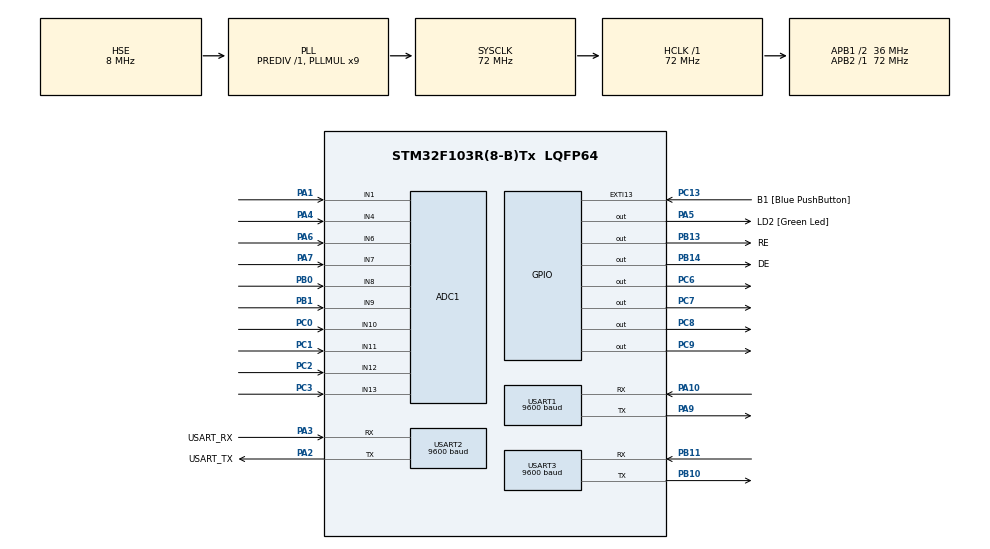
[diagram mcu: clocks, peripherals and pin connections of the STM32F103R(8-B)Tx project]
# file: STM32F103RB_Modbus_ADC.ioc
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ADC1.Channel-0\#ChannelRegularConversion=ADC_CHANNEL_1
ADC1.NbrOfConversionFlag=1
ADC1.Rank-0\#ChannelRegularConversion=1
ADC1.SamplingTime-0\#ChannelRegularConversion=ADC_SAMPLETIME_1CYCLE_5
ADC1.master=1
Mcu.Family=STM32F1
Mcu.Name=STM32F103R(8-B)Tx
Mcu.Package=LQFP64
NVIC.EXTI15_10_IRQn=true\:0\:0\:false\:false\:true\:true\:true\:true
NVIC.PriorityGroup=NVIC_PRIORITYGROUP_4
NVIC.USART1_IRQn=true\:0\:0\:false\:false\:true\:true\:true\:true
NVIC.USART2_IRQn=true\:0\:0\:false\:false\:true\:true\:true\:true
NVIC.USART3_IRQn=true\:0\:0\:false\:false\:true\:true\:true\:true
PA1.Signal=ADCx_IN1
PA10.Mode=Asynchronous
PA10.Signal=USART1_RX
PA13.GPIO_Label=TMS
PA13.Signal=SYS_JTMS-SWDIO
PA14.GPIO_Label=TCK
PA14.Signal=SYS_JTCK-SWCLK
PA2.GPIO_Label=USART_TX
PA2.GPIO_Mode=GPIO_MODE_AF_PP
PA2.GPIO_PuPd=GPIO_NOPULL
PA2.GPIO_Speed=GPIO_SPEED_FREQ_LOW
PA2.Mode=Asynchronous
PA2.Signal=USART2_TX
PA3.GPIO_Label=USART_RX
PA3.GPIO_Mode=GPIO_MODE_AF_PP
PA3.GPIO_PuPd=GPIO_NOPULL
PA3.GPIO_Speed=GPIO_SPEED_FREQ_LOW
PA3.Mode=Asynchronous
PA3.Signal=USART2_RX
PA4.Signal=ADCx_IN4
PA5.GPIO_Label=LD2 [Green Led]
PA5.GPIO_ModeDefaultOutputPP=GPIO_MODE_OUTPUT_PP
PA5.GPIO_PuPd=GPIO_NOPULL
PA5.GPIO_Speed=GPIO_SPEED_FREQ_LOW
PA5.Signal=GPIO_Output
PA6.Signal=ADCx_IN6
PA7.Signal=ADCx_IN7
PA9.Mode=Asynchronous
PA9.Signal=USART1_TX
PB0.Signal=ADCx_IN8
PB1.Signal=ADCx_IN9
PB10.Mode=Asynchronous
PB10.Signal=USART3_TX
PB11.Mode=Asynchronous
PB11.Signal=USART3_RX
PB13.GPIO_Label=RE
PB13.GPIO_PuPd=GPIO_PULLUP
PB13.Signal=GPIO_Output
PB14.GPIO_Label=DE
PB14.GPIO_PuPd=GPIO_PULLUP
PB14.Signal=GPIO_Output
PB3.GPIO_Label=SWO
PB3.Signal=SYS_JTDO-TRACESWO
PC0.Signal=ADCx_IN10
PC1.Signal=ADCx_IN11
PC13-TAMPER-RTC.GPIO_Label=B1 [Blue PushButton]
PC13-TAMPER-RTC.GPIO_PuPd=GPIO_NOPULL
PC13-TAMPER-RTC.Signal=GPXTI13
PC14-OSC32_IN.Mode=LSE-External-Oscillator
PC14-OSC32_IN.Signal=RCC_OSC32_IN
PC15-OSC32_OUT.Mode=LSE-External-Oscillator
PC15-OSC32_OUT.Signal=RCC_OSC32_OUT
PC2.Signal=ADCx_IN12
PC3.Signal=ADCx_IN13
PC6.Signal=GPIO_Output
PC7.Signal=GPIO_Output
PC8.Signal=GPIO_Output
PC9.Signal=GPIO_Output
PD0-OSC_IN.Mode=HSE-External-Clock-Source
PD0-OSC_IN.Signal=RCC_OSC_IN
PD1-OSC_OUT.Mode=HSE-External-Clock-Source
PD1-OSC_OUT.Signal=RCC_OSC_OUT
ProjectManager.HeapSize=0x200
ProjectManager.StackSize=0x400
ProjectManager.TargetToolchain=STM32CubeIDE
RCC.ADCPresc=RCC_ADCPCLK2_DIV6
RCC.AHBFreq_Value=72000000
RCC.APB1CLKDivider=RCC_HCLK_DIV2
RCC.APB1Freq_Value=36000000
RCC.APB1TimFreq_Value=72000000
RCC.APB2Freq_Value=72000000
RCC.APB2TimFreq_Value=72000000
RCC.HCLKFreq_Value=72000000
RCC.PLLMUL=RCC_PLL_MUL9
RCC.PLLSourceVirtual=RCC_PLLSOURCE_HSE
RCC.RTCClockSelection=RCC_RTCCLKSOURCE_LSE
RCC.SYSCLKFreq_VALUE=72000000
RCC.SYSCLKSource=RCC_SYSCLKSOURCE_PLLCLK
RCC.USBFreq_Value=72000000
SH.ADCx_IN1.0=ADC1_IN1,IN1
SH.ADCx_IN10.0=ADC1_IN10,IN10
SH.ADCx_IN11.0=ADC1_IN11,IN11
SH.ADCx_IN12.0=ADC1_IN12,IN12
SH.ADCx_IN13.0=ADC1_IN13,IN13
SH.ADCx_IN4.0=ADC1_IN4,IN4
SH.ADCx_IN6.0=ADC1_IN6,IN6
SH.ADCx_IN7.0=ADC1_IN7,IN7
SH.ADCx_IN8.0=ADC1_IN8,IN8
SH.ADCx_IN9.0=ADC1_IN9,IN9
TIM2.ClockDivision=TIM_CLOCKDIVISION_DIV2
TIM2.Period=50 - 1
TIM2.Prescaler=7200 -1
USART1.BaudRate=9600
USART1.VirtualMode=VM_ASYNC
USART2.BaudRate=9600
USART2.VirtualMode=VM_ASYNC
USART3.BaudRate=9600
USART3.VirtualMode=VM_ASYNC
VP_SYS_VS_ND.Mode=No_Debug
VP_TIM2_VS_ClockSourceINT.Mode=Internal
VP_TIM2_VS_ClockSourceITR.Mode=TriggerSource_ITR2
board=NUCLEO-F103RB

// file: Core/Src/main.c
/* USER CODE BEGIN Header */
/**
  ******************************************************************************
  * @file           : main.c
  * @brief          : Main program body
  ******************************************************************************
  * @attention
  *
  * Copyright (c) 2024 STMicroelectronics.
  * All rights reserved.
  *
  * This software is licensed under terms that can be found in the LICENSE file
  * in the root directory of this software component.
  * If no LICENSE file comes with this software, it is provided AS-IS.
  *
  ******************************************************************************
  */
/* USER CODE END Header */
#include "main.h"
#include "adc.h"
#include "tim.h"
#include "usart.h"
#include "gpio.h"

/* USER CODE BEGIN Includes */
#include <stdio.h>
#include <stdint.h>
#include <stdbool.h>
#include "modbus.h" // modbus.h 포함 확인
/* USER CODE END Includes */

/* USER CODE BEGIN PTD */
#include "modbus.h"
/* USER CODE END PTD */

/* USER CODE BEGIN PV */
#define SLAVE_ADDRESS 0x01
#define MODBUS_BUFFER_SIZE 256

uint8_t ModbusReceiveBuffer[MODBUS_BUFFER_SIZE];
uint8_t UART1_RxBuffer; // 1바이트 수신용 버퍼
volatile uint16_t ModbusReceiveIndex = 0;
volatile bool ModbusFrameReceived = false; // 프레임 수신 완료 플래그

// ADC 관련 변수
volatile uint16_t uwADCxConvertedValue[10]; // ADC 값 저장 (예: 10개)
volatile uint16_t uwADCxConvertedVals; // 단일 변환 값 (필요시 사용)

// 릴레이 GPIO 핀 정의 (가독성 향상)
#define RELAY1_PORT GPIOC
#define RELAY1_PIN GPIO_PIN_6
#define RELAY2_PORT GPIOC
#define RELAY2_PIN GPIO_PIN_7
#define RELAY3_PORT GPIOC
#define RELAY3_PIN GPIO_PIN_8
#define RELAY4_PORT GPIOC
#define RELAY4_PIN GPIO_PIN_9

/* USER CODE END PV */

void SystemClock_Config(void);
/* USER CODE BEGIN PFP */
uint16_t ModbusCRC(uint8_t *buf, int len);
void ProcessModbusPacket(uint8_t *buf, int len);
uint16_t ReadHoldingRegister(uint16_t address);
// WriteSingleRegister 함수의 반환 타입을 void로 변경
void WriteSingleRegister(uint16_t address, uint16_t value);

#define MODBUS_MAX_LEN  256
#define MODBUS_SLAVE_ID 0x01

uint8_t tx_buf[MODBUS_MAX_LEN];
uint8_t rx_buf[MODBUS_MAX_LEN];

uint8_t tx_data[] = "RS485 DMA Packet\r\n";
uint8_t rx_buffer[64];

uint8_t rx_data[64];
uint8_t rx_buffer[64];
/* USER CODE END PFP */

/* USER CODE BEGIN 0 */
#ifdef __GNUC__
/* With GCC, small printf (option LD Linker->Libraries->Small printf
   set to 'Yes') calls __io_putchar() */
#define PUTCHAR_PROTOTYPE int __io_putchar(int ch)
#else
#define PUTCHAR_PROTOTYPE int fputc(int ch, FILE *f)
#endif /* __GNUC__ */

/**
 * @brief Retargets the C library printf function to the USART.
 * @param None
 * @retval None
 */
PUTCHAR_PROTOTYPE
{
    /* Place your implementation of fputc here */
    /* e.g. write a character to the USART1 and Loop until the end of transmission */
    if (ch == '\n') {
        HAL_UART_Transmit(&huart3, (uint8_t*)"\r", 1, 0xFFFF);
    }
    HAL_UART_Transmit(&huart3, (uint8_t*)&ch, 1, 0xFFFF);

    return ch;
}
// ... (printf 관련 코드 유지)

// --- RS485 제어 매크로 ---
// DE와 /RE 핀이 어떻게 연결되었는지 확인 필요.
// 일반적으로 DE와 /RE를 묶어서 하나의 핀으로 제어하는 경우가 많음 (예: PB13)
// 여기서는 DE(PB13), /RE(PB14) 개별 제어로 가정
void RS485_TX_ENABLE() {
    // 전송 시작 전 DE High, /RE High (트랜시버에 따라 다를 수 있음, 데이터시트 확인!)
    HAL_GPIO_WritePin(GPIOB, DE_Pin, GPIO_PIN_RESET);     // DE High
    HAL_GPIO_WritePin(GPIOB, RE_Pin, GPIO_PIN_SET);     // /RE High (보통 DE와 반대거나 같음)
    // 짧은 지연시간 (필요시)
    // for(volatile int i=0; i<10; i++); // 매우 짧은 지연, 클럭 속도에 따라 조절
}

void RS485_RX_ENABLE() {
    // 전송 완료 후 또는 평상시 DE Low, /RE Low
    // for(volatile int i=0; i<10; i++); // 전송 완료 보장 위한 짧은 지연 (필요시)
    HAL_GPIO_WritePin(GPIOB, DE_Pin, GPIO_PIN_SET);   // DE Low
    HAL_GPIO_WritePin(GPIOB, RE_Pin, GPIO_PIN_RESET);   // /RE Low
}

// --- UART 수신 콜백 (Modbus T3.5 타이머 연동) ---
void HAL_UART_RxCpltCallback(UART_HandleTypeDef *huart) {
    if (huart->Instance == USART1) {
        // 수신 버퍼 오버플로우 방지
        if (ModbusReceiveIndex < MODBUS_BUFFER_SIZE) {
            ModbusReceiveBuffer[ModbusReceiveIndex++] = UART1_RxBuffer;

            // T3.5 타이머 리셋 및 시작 (문자 수신 시마다 재시작)
            __HAL_TIM_SET_COUNTER(&htim2, 0); // 카운터 초기화
            HAL_TIM_Base_Start_IT(&htim2);    // 타이머 시작 (One Pulse Mode 권장)
        } else {
            // 버퍼 오버플로우 처리 (예: 인덱스 초기화)
            ModbusReceiveIndex = 0;
            // 에러 로그 등
        }

        // 다음 1 바이트 수신 준비
        HAL_UART_Receive_IT(&huart1, &UART1_RxBuffer, 1);

    }
    // else if (huart->Instance == USART2) {
    //     // USART2 수신 처리 (printf용이면 보통 불필요)
    // }
}

// --- T3.5 타이머 인터럽트 콜백 ---
void HAL_TIM_PeriodElapsedCallback(TIM_HandleTypeDef *htim) {
    if (htim->Instance == TIM2) {
        // T3.5 시간 동안 추가 수신이 없었음 -> 프레임 종료
        HAL_TIM_Base_Stop_IT(&htim2); // 타이머 중지

        if (ModbusReceiveIndex > 0) { // 수신된 데이터가 있을 경우만
             ModbusFrameReceived = true; // 메인 루프에서 처리하도록 플래그 설정
        }
    }
}

// --- CRC 계산 함수 (기존 코드 유지) ---
uint16_t ModbusCRC(uint8_t *buf, int len) {
    uint16_t crc = 0xFFFF;
    for (int pos = 0; pos < len; pos++) {
        crc ^= (uint16_t)buf[pos];
        for (int i = 8; i != 0; i--) {
            if ((crc & 1) != 0) {
                crc >>= 1;
                crc ^= 0xA001;
            } else {
                crc >>= 1;
            }
        }
    }
    // Modbus RTU는 LSB first, MSB last
    // return crc; // 이대로 반환하면 LSB가 먼저 나옴
     return (crc >> 8) | (crc << 8); // SWAP bytes for correct comparison/transmission
}

// --- Modbus 패킷 처리 함수 ---
void ProcessModbusPacket(uint8_t *buf, int len) {
    // 1. 최소 길이 확인 (SlaveID + FuncCode + CRC = 4 bytes)
    if (len < 4) {
        return; // 너무 짧은 패킷
    }

    // 2. 슬레이브 주소 확인
    uint8_t slaveAddress = buf[0];
    if (slaveAddress != SLAVE_ADDRESS) {
        return; // 내 주소가 아님
    }

    // 3. CRC 확인 (수정: CRC 체크 활성화 및 바이트 순서 고려)
    uint16_t received_crc = (buf[len - 1] << 8) | buf[len - 2]; // MSB first in calculation
    uint16_t calculated_crc = ModbusCRC(buf, len - 2);
    // calculated_crc = (calculated_crc >> 8) | (calculated_crc << 8); // SWAP bytes

    if (received_crc != calculated_crc) {
         // CRC 오류 처리 (예: 에러 로그, 무시)
         printf("CRC Error! Received: 0x%04X, Calculated: 0x4X\r\n", received_crc, calculated_crc);
         return;
    }

    // 4. 함수 코드 확인 및 처리
    uint8_t functionCode = buf[1];
    uint8_t response[MODBUS_BUFFER_SIZE]; // 응답 버퍼
    int responseLength = 0;
    uint16_t startAddress, numRegisters, regValue, writeValue, crc;

    switch (functionCode) {
        case 0x03: // Read Holding Registers
            if (len != 8) return; // FC03 요청 길이는 8바이트
            startAddress = (buf[2] << 8) | buf[3];
            numRegisters = (buf[4] << 8) | buf[5];

            // 주소 및 개수 유효성 검사 (예: ADC 배열 범위 확인)
            if ((startAddress + numRegisters) > (sizeof(uwADCxConvertedValue) / sizeof(uwADCxConvertedValue[0]))) {
                // 예외 처리: Illegal Data Address
                response[0] = slaveAddress;
                response[1] = functionCode | 0x80; // 예외 응답 코드
                response[2] = 0x02; // 예외 코드: Illegal Data Address
                responseLength = 3;
            } else {
                // 정상 응답 준비
                response[0] = slaveAddress;
                response[1] = functionCode;
                response[2] = numRegisters * 2; // 바이트 수
                responseLength = 3;
                for (int i = 0; i < numRegisters; i++) {
                    regValue = ReadHoldingRegister(startAddress + i);
                    response[responseLength++] = regValue >> 8;   // MSB
                    response[responseLength++] = regValue & 0xFF; // LSB
                }
            }
            break;

        case 0x06: // Write Single Register
            if (len != 8) return; // FC06 요청 길이는 8바이트
            startAddress = (buf[2] << 8) | buf[3]; // 레지스터 주소 (릴레이 번호)
            writeValue = (buf[4] << 8) | buf[5];   // 쓸 값 (ON/OFF)

            // 주소 유효성 검사 (1~4번 릴레이 가정)
            if (startAddress < 1 || startAddress > 4) {
                 // 예외 처리: Illegal Data Address
                response[0] = slaveAddress;
                response[1] = functionCode | 0x80;
                response[2] = 0x02;
                responseLength = 3;
            } else {
                 // 레지스터 쓰기 (실제 릴레이 제어)
                 WriteSingleRegister(startAddress, writeValue);

                 // 정상 응답 (요청을 그대로 반향)
                 for(int i=0; i<len-2; i++) { // CRC 제외하고 복사
                     response[i] = buf[i];
                 }
                 responseLength = len - 2; // CRC 제외 길이
            }
            break;

        // --- 다른 필요한 Function Code 처리 추가 ---
        case 0x10: // Write Multiple Registers
             // ... 구현 ...
             break;

        default:
            // 지원하지 않는 함수 코드 예외 처리
            response[0] = slaveAddress;
            response[1] = functionCode | 0x80;
            response[2] = 0x01; // 예외 코드: Illegal Function
            responseLength = 3;
            break;
    }

    // 5. 응답 전송 (예외 또는 정상 응답)
    if (responseLength > 0) {
        crc = ModbusCRC(response, responseLength);
        response[responseLength++] = crc & 0xFF;       // CRC LSB
        response[responseLength++] = (crc >> 8) & 0xFF; // CRC MSB (ModbusCRC 함수 수정으로 인해 순서 변경됨)

        RS485_TX_ENABLE(); // 송신 모드 설정
        HAL_Delay(1); // DE 핀 안정화 시간 (필요시, 매우 짧게)
        HAL_UART_Transmit(&huart1, response, responseLength, HAL_MAX_DELAY); // 블로킹 방식 전송

        // HAL_UART_Transmit_IT 또는 HAL_UART_Transmit_DMA 사용 시 주의:
        // 전송 완료 콜백(HAL_UART_TxCpltCallback)에서 RS485_RX_ENABLE() 호출 필요

        // 전송 완료 후 수신 모드 설정 (블로킹 함수 뒤에 호출)
        // 전송 버퍼가 비워지는 것을 기다리는 약간의 지연이 필요할 수 있음
        while(HAL_UART_GetState(&huart1) != HAL_UART_STATE_READY); // 간단한 대기 (더 정확한 방법 고려)
        RS485_RX_ENABLE();
    }
}

// --- Holding Register 읽기 함수 ---
uint16_t ReadHoldingRegister(uint16_t address) {
    // 주소 유효성 검사 (0부터 시작하는 인덱스 가정)
    if (address < (sizeof(uwADCxConvertedValue) / sizeof(uwADCxConvertedValue[0]))) {
        return uwADCxConvertedValue[address];
    }
    // 다른 레지스터 영역 처리 (필요시)
    return 0; // 잘못된 주소면 0 반환
}

// --- Single Register 쓰기 함수 (릴레이 제어) ---
void WriteSingleRegister(uint16_t address, uint16_t value) {
    GPIO_PinState pinState = (value == 0xFF00) ? GPIO_PIN_RESET : GPIO_PIN_SET; // 0xFF00: ON(LOW), 0x0000: OFF(HIGH) - 릴레이 특성에 맞게 조절

    switch (address) {
        case 1: // 릴레이 1 주소
            HAL_GPIO_WritePin(RELAY1_PORT, RELAY1_PIN, pinState);
            break;
        case 2: // 릴레이 2 주소
            HAL_GPIO_WritePin(RELAY2_PORT, RELAY2_PIN, pinState);
            break;
        case 3: // 릴레이 3 주소
            HAL_GPIO_WritePin(RELAY3_PORT, RELAY3_PIN, pinState);
            break;
        case 4: // 릴레이 4 주소
            HAL_GPIO_WritePin(RELAY4_PORT, RELAY4_PIN, pinState);
            break;
        default:
            // 잘못된 주소
            break;
    }
    // 다른 레지스터 영역 처리 (필요시)
}

/* USER CODE END 0 */

int main(void)
{

  /* MCU Configuration--------------------------------------------------------*/

  /* Reset of all peripherals, Initializes the Flash interface and the Systick. */
  HAL_Init();

  /* Configure the system clock */
  SystemClock_Config();

  /* Initialize all configured peripherals */
  MX_GPIO_Init();
  MX_ADC1_Init();
  MX_USART1_UART_Init();
  MX_USART2_UART_Init();
  MX_TIM2_Init();
  MX_USART3_UART_Init();
  /* USER CODE BEGIN 2 */

  // 초기 릴레이 상태 설정 (OFF)
  HAL_GPIO_WritePin(RELAY1_PORT, RELAY1_PIN, GPIO_PIN_SET);
  HAL_GPIO_WritePin(RELAY2_PORT, RELAY2_PIN, GPIO_PIN_SET);
  HAL_GPIO_WritePin(RELAY3_PORT, RELAY3_PIN, GPIO_PIN_SET);
  HAL_GPIO_WritePin(RELAY4_PORT, RELAY4_PIN, GPIO_PIN_SET);

  RS485_RX_ENABLE(); // 초기 상태는 수신 모드

  // Modbus 수신 시작 (첫 1 바이트)
  HAL_UART_Receive_IT(&huart1, &UART1_RxBuffer, 1);

  // ADC 설정
  if (HAL_ADCEx_Calibration_Start(&hadc1) != HAL_OK) {
      Error_Handler();
  }
  // ADC 인터럽트 방식 사용 시 시작 (콜백에서 값 읽기)
  // if (HAL_ADC_Start_IT(&hadc1) != HAL_OK) { Error_Handler(); }
  // 또는 폴링 방식 사용 시 아래 루프 내에서 처리

   uint16_t len = modbus_build_request(0x01, 0x0000, 0x0001, 1, tx_buf);
   RS485_TX_ENABLE();
   HAL_UART_Transmit(&huart1, tx_buf, len, 100);
   HAL_Delay(1000);

  /* USER CODE END 2 */

  /* Infinite loop */
  while (1)
  {

    /* USER CODE BEGIN 3 */

    // --- Modbus 프레임 처리 ---
    if (ModbusFrameReceived) {
        ProcessModbusPacket(ModbusReceiveBuffer, ModbusReceiveIndex);
        ModbusReceiveIndex = 0;      // 인덱스 초기화
        ModbusFrameReceived = false; // 플래그 리셋
        // 수신 재시작 (ProcessModbusPacket 에서 송신 후 수신 모드로 전환하므로 불필요할 수 있음)
        // 하지만 안전을 위해 추가 고려: HAL_UART_Receive_IT(&huart1, &UART1_RxBuffer, 1);
    }

    // --- ADC 값 읽기 (폴링 방식 예시) ---
    // ADC 인터럽트 방식을 사용하면 이 부분은 필요 없음
	 HAL_ADC_Start(&hadc1);
	 for (uint8_t i = 0; i < (sizeof(uwADCxConvertedValue) / sizeof(uwADCxConvertedValue[0])); i++) {
		 // ADC 채널 변경 로직 필요 시 추가 (CubeMX에서 Scan 모드 설정 시 자동)
		 HAL_ADC_PollForConversion(&hadc1, 10); // 타임아웃 10ms
		 if ((HAL_ADC_GetState(&hadc1) & HAL_ADC_STATE_REG_EOC) == HAL_ADC_STATE_REG_EOC) {
			 uwADCxConvertedValue[i] = HAL_ADC_GetValue(&hadc1);
		 } else {
			 // ADC 읽기 오류 처리
		 }
	 }
	 HAL_ADC_Stop(&hadc1);

	 HAL_GPIO_TogglePin(GPIOA, GPIO_PIN_5); // PA5 핀에 연결된 LED 제어 (핀 이름은 실제 설정에 맞게 변경)
	 HAL_Delay(500); // 500ms 지연

	 // 버튼(B1, 예를 들어 PC13)이 눌렸는지 확인 (Pull-up 저항 사용 가정, 누르면 LOW)
	 if (HAL_GPIO_ReadPin(GPIOC, GPIO_PIN_13) == GPIO_PIN_RESET)
	 {
		 printf("Blue Button Pressed...\r\n");

		// 버튼 눌렸을 때 처리 (Debouncing은 추가 구현 필요)
		HAL_GPIO_WritePin(GPIOA, GPIO_PIN_5, GPIO_PIN_SET); // LED 켜기
		HAL_GPIO_WritePin(GPIOC, GPIO_PIN_8, GPIO_PIN_RESET); // Relay Off

	 }else {

		HAL_GPIO_WritePin(GPIOC, GPIO_PIN_8, GPIO_PIN_SET); // Relay On
	 }

    // --- 기타 작업 ---
    HAL_GPIO_TogglePin(LD2_GPIO_Port, LD2_Pin); // LD2 토글 (하트비트)
    HAL_Delay(500); // 메인 루프 지연 (다른 작업에 따라 조절)

  }
  /* USER CODE END 3 */
}

void SystemClock_Config(void)
{
  RCC_OscInitTypeDef RCC_OscInitStruct = {0};
  RCC_ClkInitTypeDef RCC_ClkInitStruct = {0};
  RCC_PeriphCLKInitTypeDef PeriphClkInit = {0};

  /** Initializes the RCC Oscillators according to the specified parameters
  * in the RCC_OscInitTypeDef structure.
  */
  RCC_OscInitStruct.OscillatorType = RCC_OSCILLATORTYPE_HSE;
  RCC_OscInitStruct.HSEState = RCC_HSE_BYPASS;
  RCC_OscInitStruct.HSEPredivValue = RCC_HSE_PREDIV_DIV1;
  RCC_OscInitStruct.HSIState = RCC_HSI_ON;
  RCC_OscInitStruct.PLL.PLLState = RCC_PLL_ON;
  RCC_OscInitStruct.PLL.PLLSource = RCC_PLLSOURCE_HSE;
  RCC_OscInitStruct.PLL.PLLMUL = RCC_PLL_MUL9;
  if (HAL_RCC_OscConfig(&RCC_OscInitStruct) != HAL_OK)
  {
    Error_Handler();
  }

  /** Initializes the CPU, AHB and APB buses clocks
  */
  RCC_ClkInitStruct.ClockType = RCC_CLOCKTYPE_HCLK|RCC_CLOCKTYPE_SYSCLK
                              |RCC_CLOCKTYPE_PCLK1|RCC_CLOCKTYPE_PCLK2;
  RCC_ClkInitStruct.SYSCLKSource = RCC_SYSCLKSOURCE_PLLCLK;
  RCC_ClkInitStruct.AHBCLKDivider = RCC_SYSCLK_DIV1;
  RCC_ClkInitStruct.APB1CLKDivider = RCC_HCLK_DIV2;
  RCC_ClkInitStruct.APB2CLKDivider = RCC_HCLK_DIV1;

  if (HAL_RCC_ClockConfig(&RCC_ClkInitStruct, FLASH_LATENCY_2) != HAL_OK)
  {
    Error_Handler();
  }
  PeriphClkInit.PeriphClockSelection = RCC_PERIPHCLK_ADC;
  PeriphClkInit.AdcClockSelection = RCC_ADCPCLK2_DIV6;
  if (HAL_RCCEx_PeriphCLKConfig(&PeriphClkInit) != HAL_OK)
  {
    Error_Handler();
  }
}

/* USER CODE BEGIN 4 */
int _write(int file, char *ptr, int len)
{
    HAL_UART_Transmit(&huart3, (uint8_t *)ptr, len, HAL_MAX_DELAY);
    return len;
}

void HAL_ADC_ConvCpltCallback (ADC_HandleTypeDef *AdcHandle)
{
  /* ### - 6 - Get the converted value of regular channel ##############*/
  uwADCxConvertedVals = HAL_ADC_GetValue (AdcHandle);
}
/* USER CODE END 4 */

void Error_Handler(void)
{
  __disable_irq();
  while (1)
  {
  }
}
